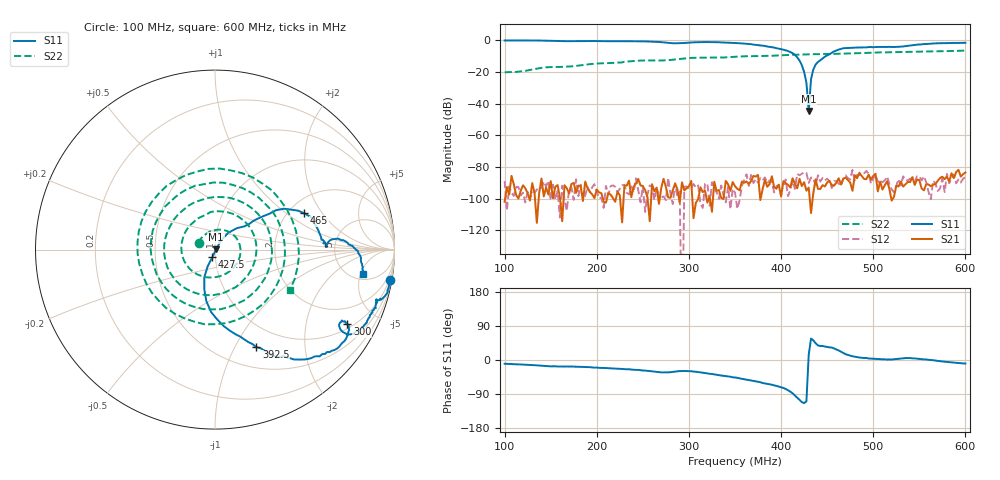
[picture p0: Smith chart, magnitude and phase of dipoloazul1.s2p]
! Exportado en formato Magnitud (lineal) y Fase (grados)
# GHz S MA R 50
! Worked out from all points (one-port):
!   201 points, 100 MHz to 600 MHz, reference 50 ohm
!   lowest |S11| = -44.6 dB at 430 MHz (marker M1), VSWR 1.01, Z = 50.6 + j0.144 ohm
!   |S11| at or under -10 dB: 416.4 MHz to 448.5 MHz (32.09 MHz wide, 7.42 % of centre)
!   S11 on the Smith chart (normalised r, x): 100 MHz: 1, -12; 300 MHz: 1.18, -3.44; 392.5 MHz: 0.73, -1.22; 427.5 MHz: 0.97, -0.08; 465 MHz: 2.43, +1.38; 600 MHz: 6.14, -5.61
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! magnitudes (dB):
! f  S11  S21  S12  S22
! 100 MHz  -0.1  -102.0  -88.9  -20.2
! 120 MHz  -0.1  -91.6  -96.2  -19.5
! 145 MHz  -0.2  -93.0  -92.3  -17.1
! 185 MHz  -0.5  -101.5  -100.3  -15.6
! 247.5 MHz  -0.6  -91.7  -102.3  -12.8
! 267.5 MHz  -1.0  -103.4  -97.7  -12.7
! 300 MHz  -1.5  -92.2  -93.3  -11.2
! 350 MHz  -1.7  -92.2  -96.1  -10.4
! 392.5 MHz  -4.6  -92.9  -96.1  -9.7
! 410 MHz  -7.4  -92.9  -94.5  -9.2
! 417.5 MHz  -10.7  -93.5  -84.4  -9.0
! 422.5 MHz  -15.6  -92.1  -84.3  -9.0
! 425 MHz  -20.0  -89.7  -83.3  -8.9
! 427.5 MHz  -26.8  -95.0  -83.7  -8.9
! 430 MHz  -44.6  -93.1  -90.1  -8.8
! 432.5 MHz  -24.5  -109.1  -86.6  -8.8
! 435 MHz  -18.4  -96.4  -87.2  -8.8
! 437.5 MHz  -15.3  -87.8  -91.6  -8.7
! 447.5 MHz  -10.3  -92.4  -88.4  -8.6
! 465 MHz  -5.4  -91.1  -92.0  -8.4
! 517.5 MHz  -4.1  -93.8  -90.6  -7.5
! 600 MHz  -1.5  -83.5  -86.4  -6.5
